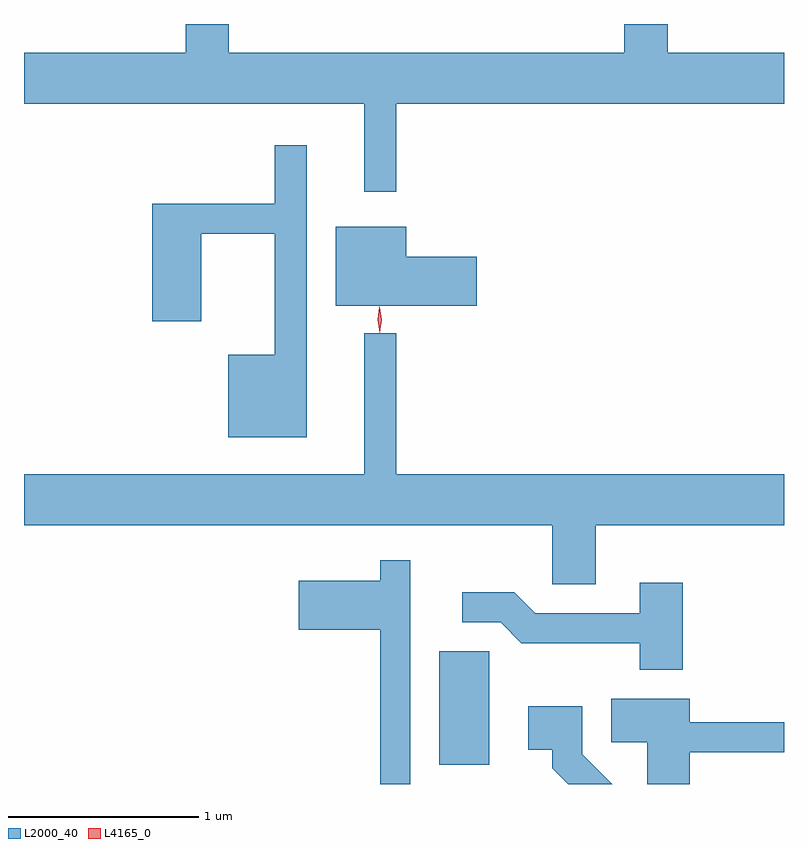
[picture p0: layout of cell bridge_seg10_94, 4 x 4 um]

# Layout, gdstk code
import gdstk
lib = gdstk.Library(unit=1e-6, precision=1e-09)
def R(c, l, rs):  # rectangles x0, y0, x1, y1
    for r in rs: c.add(gdstk.rectangle(r[:2], r[2:], *l))
def P(c, l, *ps):  # polygons
    for p in ps: c.add(gdstk.Polygon(p, *l))
L2000_40 = (2000, 40)
L4165_0 = (4165, 0)

bridge_seg10_94 = lib.new_cell('bridge_seg10_94')
R(bridge_seg10_94, L2000_40, [(1560.986,2197.016,1561.249,2197.614)])
P(bridge_seg10_94, L2000_40, [(1560.759,2200.496),(1562.801,2200.496),(1562.801,2200.764),(1562.189,2200.764),(1562.189,2200.915),(1561.961,2200.915),(1561.961,2200.764),(1559.879,2200.764),(1559.879,2200.915),(1559.651,2200.915),(1559.651,2200.764),(1558.801,2200.764),(1558.801,2200.496),(1560.591,2200.496),(1560.591,2200.033),(1560.759,2200.033)],
  [(1560.289,2200.278),(1560.121,2200.278),(1560.121,2199.969),(1559.476,2199.969),(1559.476,2199.351),(1559.734,2199.351),(1559.734,2199.811),(1560.121,2199.811),(1560.121,2199.174),(1559.876,2199.174),(1559.876,2198.741),(1560.289,2198.741)],
  [(1561.184,2199.689),(1560.814,2199.689),(1560.814,2199.849),(1560.441,2199.849),(1560.441,2199.431),(1561.184,2199.431)],
  [(1561.809,2198.276),(1562.801,2198.276),(1562.801,2198.544),(1560.759,2198.544),(1560.759,2199.288),(1560.591,2199.288),(1560.591,2198.544),(1558.801,2198.544),(1558.801,2198.276),(1561.581,2198.276),(1561.581,2197.966),(1561.809,2197.966)],
  [(1560.834,2198.093),(1560.676,2198.093),(1560.676,2197.984),(1560.246,2197.984),(1560.246,2197.726),(1560.676,2197.726),(1560.676,2196.915),(1560.834,2196.915)],
  [(1562.269,2197.974),(1562.041,2197.974),(1562.041,2197.814),(1561.492,2197.814),(1561.382,2197.924),(1561.108,2197.924),(1561.108,2197.766),(1561.309,2197.766),(1561.419,2197.656),(1562.041,2197.656),(1562.041,2197.516),(1562.269,2197.516)],
  [(1562.304,2197.081),(1562.801,2197.081),(1562.801,2197.239),(1562.304,2197.239),(1562.304,2197.364),(1561.891,2197.364),(1561.891,2197.136),(1562.081,2197.136),(1562.081,2196.915),(1562.304,2196.915)],
  [(1561.739,2197.072),(1561.739,2197.324),(1561.456,2197.324),(1561.456,2197.096),(1561.581,2197.096),(1561.581,2196.999),(1561.665,2196.915),(1561.896,2196.915)])
P(bridge_seg10_94, L4165_0, [(1560.674,2199.293),(1560.673,2199.294),(1560.663,2199.356),(1560.672,2199.419),(1560.673,2199.42),(1560.674,2199.419),(1560.683,2199.356),(1560.674,2199.294)],
  [(1560.673,2199.29),(1560.663,2199.358),(1560.672,2199.425),(1560.672,2199.426),(1560.673,2199.425),(1560.683,2199.358),(1560.674,2199.29),(1560.674,2199.29)])

lib.write_gds('bridge_seg10_94.gds')
